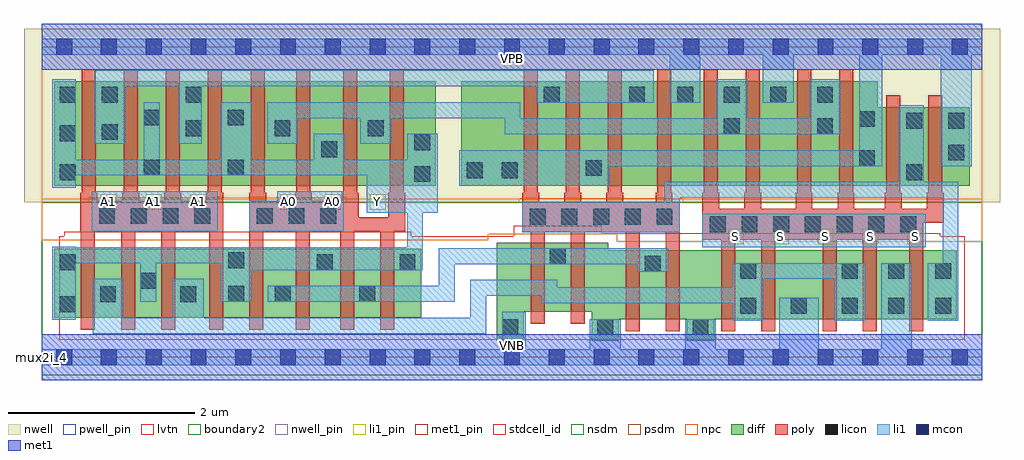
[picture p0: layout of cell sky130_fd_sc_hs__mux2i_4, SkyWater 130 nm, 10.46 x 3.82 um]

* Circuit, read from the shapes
.subckt sky130_fd_sc_hs__mux2i_4 A0 A1 S VGND VNB VPB VPWR Y
XM1 n1 A1 Y VNB sky130_fd_pr__nfet_01v8_lvt w=0.74 l=0.15 m=4
XM2 n2 A0 Y VNB sky130_fd_pr__nfet_01v8_lvt w=0.74 l=0.15 m=4
XM3 n2 n3 VGND VNB sky130_fd_pr__nfet_01v8_lvt w=0.74 l=0.15 m=4
XM4 n1 S VGND VNB sky130_fd_pr__nfet_01v8_lvt w=0.74 l=0.15 m=4
XM5 n3 S VGND VNB sky130_fd_pr__nfet_01v8_lvt w=0.74 l=0.15
XM6 n4 A1 Y VPB sky130_fd_pr__pfet_01v8 w=1.12 l=0.15 m=4
XM7 n5 A0 Y VPB sky130_fd_pr__pfet_01v8 w=1.12 l=0.15 m=4
XM8 n4 n3 VPWR VPB sky130_fd_pr__pfet_01v8 w=1.12 l=0.15 m=4
XM9 n5 S VPWR VPB sky130_fd_pr__pfet_01v8 w=1.12 l=0.15 m=4
XM10 n3 S VPWR VPB sky130_fd_pr__pfet_01v8 w=0.84 l=0.15 m=2
.ends

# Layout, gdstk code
import gdstk
lib = gdstk.Library(unit=1e-6, precision=1e-09)
def R(c, l, rs):  # rectangles x0, y0, x1, y1
    for r in rs: c.add(gdstk.rectangle(r[:2], r[2:], *l))
def A(c, l, x, y, w, h, nx, ny, dx, dy):  # array of equal rectangles
    R(c, l, [(x+i*dx, y+j*dy, x+i*dx+w, y+j*dy+h) for i in range(nx) for j in range(ny)])
def P(c, l, *ps):  # polygons
    for p in ps: c.add(gdstk.Polygon(p, *l))
nwell_pin = (64, 16)
nwell = (64, 20)
diff = (65, 20)
poly = (66, 20)
licon = (66, 44)
li1_pin = (67, 16)
li1 = (67, 20)
mcon = (67, 44)
met1_pin = (68, 16)
met1 = (68, 20)
stdcell_id = (81, 4)
nsdm = (93, 44)
psdm = (94, 20)
npc = (95, 20)
pwell_pin = (122, 16)
lvtn = (125, 44)
boundary2 = (236, 0)

sky130_fd_sc_hs__mux2i_4 = lib.new_cell('sky130_fd_sc_hs__mux2i_4')
R(sky130_fd_sc_hs__mux2i_4, nwell_pin, [(0,3.085,10.08,3.33)])
R(sky130_fd_sc_hs__mux2i_4, nwell, [(-0.19,1.66,10.27,3.52)])
R(sky130_fd_sc_hs__mux2i_4, diff, [(0.135,0.425,4.065,1.165), (0.135,1.84,4.225,2.96)])
P(sky130_fd_sc_hs__mux2i_4, diff, [(9.805,1.15),(6.07,1.15),(6.07,1.23),(4.875,1.23),(4.875,0.18),(5.165,0.18),(5.165,0.49),(5.895,0.49),(5.895,0.18),(6.185,0.18),(6.185,0.41),(6.915,0.41),(6.915,0.18),(7.205,0.18),(7.205,0.41),(9.805,0.41)],
  [(9.945,2.68),(8.96,2.68),(8.96,2.96),(4.495,2.96),(4.495,1.84),(9.945,1.84)])
P(sky130_fd_sc_hs__mux2i_4, poly, [(1.945,1.765),(1.93,1.765),(1.93,3.09),(1.78,3.09),(1.78,1.765),(1.765,1.765),(1.765,1.68),(1.495,1.68),(1.495,1.765),(1.48,1.765),(1.48,3.09),(1.33,3.09),(1.33,1.765),(1.315,1.765),(1.315,1.68),(1.045,1.68),(1.045,1.765),(1.03,1.765),(1.03,3.09),(0.88,3.09),(0.88,1.765),(0.865,1.765),(0.865,1.68),(0.595,1.68),(0.595,1.765),(0.58,1.765),(0.58,3.09),(0.43,3.09),(0.43,1.765),(0.415,1.765),(0.415,1.35),(0.42,1.35),(0.42,0.295),(0.57,0.295),(0.57,1.35),(0.85,1.35),(0.85,0.295),(1,0.295),(1,1.35),(1.28,1.35),(1.28,0.295),(1.43,0.295),(1.43,1.35),(1.795,1.35),(1.795,0.295),(1.945,0.295)],
  [(3.895,1.765),(3.88,1.765),(3.88,3.09),(3.73,3.09),(3.73,1.765),(3.715,1.765),(3.715,1.5),(3.395,1.5),(3.395,1.765),(3.38,1.765),(3.38,3.09),(3.23,3.09),(3.23,1.765),(3.215,1.765),(3.215,1.68),(2.895,1.68),(2.895,1.765),(2.88,1.765),(2.88,3.09),(2.73,3.09),(2.73,1.765),(2.715,1.765),(2.715,1.68),(2.405,1.68),(2.405,1.765),(2.39,1.765),(2.39,3.09),(2.24,3.09),(2.24,1.765),(2.225,1.765),(2.225,0.295),(2.375,0.295),(2.375,1.35),(2.725,1.35),(2.725,0.295),(2.875,0.295),(2.875,1.35),(3.2,1.35),(3.2,0.295),(3.35,0.295),(3.35,1.35),(3.63,1.35),(3.63,0.295),(3.78,0.295),(3.78,1.35),(3.895,1.35)],
  [(6.84,1.67),(6.76,1.67),(6.76,1.765),(6.745,1.765),(6.745,3.09),(6.595,3.09),(6.595,1.765),(6.58,1.765),(6.58,1.67),(6.23,1.67),(6.23,1.765),(6.215,1.765),(6.215,3.09),(6.065,3.09),(6.065,1.765),(6.05,1.765),(6.05,1.67),(5.78,1.67),(5.78,1.765),(5.765,1.765),(5.765,3.09),(5.615,3.09),(5.615,1.765),(5.6,1.765),(5.6,1.67),(5.33,1.67),(5.33,1.765),(5.315,1.765),(5.315,3.09),(5.165,3.09),(5.165,1.765),(5.15,1.765),(5.15,1.34),(5.24,1.34),(5.24,0.36),(5.39,0.36),(5.39,1.34),(5.67,1.34),(5.67,0.36),(5.82,0.36),(5.82,1.34),(6.26,1.34),(6.26,0.28),(6.41,0.28),(6.41,1.34),(6.69,1.34),(6.69,0.28),(6.84,0.28)],
  [(9.665,1.765),(9.65,1.765),(9.65,2.81),(9.5,2.81),(9.5,1.765),(9.485,1.765),(9.485,1.59),(9.215,1.59),(9.215,1.765),(9.2,1.765),(9.2,2.81),(9.05,2.81),(9.05,1.765),(9.035,1.765),(9.035,1.59),(8.71,1.59),(8.71,1.765),(8.695,1.765),(8.695,3.09),(8.545,3.09),(8.545,1.765),(8.53,1.765),(8.53,1.59),(8.26,1.59),(8.26,1.765),(8.245,1.765),(8.245,3.09),(8.095,3.09),(8.095,1.765),(8.08,1.765),(8.08,1.59),(7.71,1.59),(7.71,1.765),(7.695,1.765),(7.695,3.09),(7.545,3.09),(7.545,1.765),(7.53,1.765),(7.53,1.59),(7.26,1.59),(7.26,1.765),(7.245,1.765),(7.245,3.09),(7.095,3.09),(7.095,1.765),(7.08,1.765),(7.08,1.26),(7.28,1.26),(7.28,0.28),(7.43,0.28),(7.43,1.26),(7.71,1.26),(7.71,0.28),(7.86,0.28),(7.86,1.26),(8.37,1.26),(8.37,0.28),(8.52,0.28),(8.52,1.26),(8.8,1.26),(8.8,0.28),(8.95,0.28),(8.95,1.26),(9.3,1.26),(9.3,0.28),(9.45,0.28),(9.45,1.44),(9.665,1.44)])
A(sky130_fd_sc_hs__mux2i_4, licon, 4.935, 0.24, 0.17, 0.17, 3, 1, 1.02, 0)
A(sky130_fd_sc_hs__mux2i_4, licon, 7.485, 0.47, 0.17, 0.17, 3, 1, 0.545, 0)
A(sky130_fd_sc_hs__mux2i_4, licon, 8.575, 0.84, 0.17, 0.17, 3, 1, 0.5, 0)
A(sky130_fd_sc_hs__mux2i_4, licon, 7.16, 1.34, 0.17, 0.17, 7, 1, 0.34, 0)
A(sky130_fd_sc_hs__mux2i_4, licon, 5.23, 1.42, 0.17, 0.17, 5, 1, 0.34, 0)
A(sky130_fd_sc_hs__mux2i_4, licon, 0.615, 1.43, 0.17, 0.17, 4, 1, 0.34, 0)
A(sky130_fd_sc_hs__mux2i_4, licon, 2.305, 1.43, 0.17, 0.17, 3, 1, 0.34, 0)
A(sky130_fd_sc_hs__mux2i_4, licon, 0.195, 1.9, 0.17, 0.17, 1, 3, 0, 0.415)
A(sky130_fd_sc_hs__mux2i_4, licon, 6.81, 2.73, 0.17, 0.17, 4, 1, 0.5, 0)
R(sky130_fd_sc_hs__mux2i_4, licon, [(9.075,0.47,9.245,0.64), (9.575,0.47,9.745,0.64), (0.195,0.485,0.365,0.655), (0.625,0.59,0.795,0.76), (1.485,0.59,1.655,0.76), (2,0.595,2.17,0.765), (2.5,0.595,2.67,0.765), (3.405,0.595,3.575,0.765), (1.055,0.735,1.225,0.905), (7.485,0.84,7.655,1.01), (6.465,0.92,6.635,1.09), (0.195,0.935,0.365,1.105), (2.95,0.935,3.12,1.105), (3.835,0.935,4.005,1.105), (2,0.955,2.17,1.125), (5.445,1,5.615,1.17), (3.995,1.88,4.165,2.05), (9.265,1.9,9.435,2.07), (4.555,1.92,4.725,2.09), (4.93,1.92,5.1,2.09), (5.83,1.945,6,2.115), (1.095,1.95,1.265,2.12), (1.995,1.95,2.165,2.12), (8.76,2.05,8.93,2.22), (9.715,2.11,9.885,2.28), (2.995,2.145,3.165,2.315), (3.995,2.22,4.165,2.39), (0.645,2.33,0.815,2.5), (1.545,2.37,1.715,2.54), (2.495,2.37,2.665,2.54), (3.495,2.37,3.665,2.54), (7.31,2.39,7.48,2.56), (8.31,2.39,8.48,2.56), (9.265,2.45,9.435,2.62), (9.715,2.45,9.885,2.62), (8.76,2.47,8.93,2.64), (1.095,2.485,1.265,2.655), (1.995,2.485,2.165,2.655), (0.645,2.73,0.815,2.9), (1.545,2.73,1.715,2.9), (5.38,2.73,5.55,2.9), (6.295,2.73,6.465,2.9)])
A(sky130_fd_sc_hs__mux2i_4, li1_pin, 7.355, 1.21, 0.17, 0.17, 5, 1, 0.48, 0)
A(sky130_fd_sc_hs__mux2i_4, li1_pin, 0.635, 1.58, 0.17, 0.17, 3, 1, 0.48, 0)
A(sky130_fd_sc_hs__mux2i_4, li1_pin, 2.555, 1.58, 0.17, 0.17, 3, 1, 0.48, 0)
R(sky130_fd_sc_hs__mux2i_4, li1, [(7.08,1.18,9.475,1.54), (0.535,1.35,1.885,1.78)])
P(sky130_fd_sc_hs__mux2i_4, li1, [(0,-0.085),(0,0.085),(4.935,0.085),(4.935,0.49),(5.185,0.49),(5.185,0.085),(5.875,0.085),(5.875,0.41),(6.205,0.41),(6.205,0.085),(6.895,0.085),(6.895,0.41),(7.225,0.41),(7.225,0.085),(7.905,0.085),(7.905,0.64),(8.325,0.64),(8.325,0.085),(8.995,0.085),(8.995,1.01),(9.325,1.01),(9.325,0.085),(10.08,0.085),(10.08,-0.085)],
  [(0,3.245),(0,3.415),(10.08,3.415),(10.08,3.245),(9.965,3.245),(9.965,2.05),(9.635,2.05),(9.635,3.245),(9.01,3.245),(9.01,2.05),(6.08,2.05),(6.08,1.84),(4.475,1.84),(4.475,2.22),(8.76,2.22),(8.76,3.245),(8.06,3.245),(8.06,2.73),(7.73,2.73),(7.73,3.245),(7.06,3.245),(7.06,2.73),(6.73,2.73),(6.73,3.245)],
  [(2.225,1.35),(2.225,1.68),(2.525,1.68),(2.525,1.78),(3.235,1.78),(3.235,1.35)],
  [(3.485,1.55),(3.485,1.95),(0.365,1.95),(0.365,1.82),(0.115,1.82),(0.115,2.98),(0.365,2.98),(0.365,2.12),(1.095,2.12),(1.095,2.735),(1.265,2.735),(1.265,2.12),(1.915,2.12),(1.915,2.735),(2.245,2.735),(2.245,2.12),(2.915,2.12),(2.915,2.395),(3.245,2.395),(3.245,2.12),(3.915,2.12),(3.915,2.395),(4.245,2.395),(4.245,1.55),(4.085,1.55),(4.085,0.935),(2.25,0.935),(2.25,0.595),(1.92,0.595),(1.92,1.01),(1.225,1.01),(1.225,0.595),(1.055,0.595),(1.055,1.01),(0.365,1.01),(0.365,0.405),(0.115,0.405),(0.115,1.185),(0.365,1.185),(0.365,1.18),(3.915,1.18),(3.915,1.55)],
  [(9.825,1.88),(9.825,0.39),(9.495,0.39),(9.495,1.01),(9.655,1.01),(9.655,1.71),(6.84,1.71),(6.84,1.34),(5.15,1.34),(5.15,1.67),(6.67,1.67),(6.67,1.88),(9.185,1.88),(9.185,2.7),(9.455,2.7),(9.455,1.88)],
  [(7.56,2.56),(8.23,2.56),(8.23,2.98),(8.56,2.98),(8.56,2.39),(4.96,2.39),(4.96,2.565),(3.745,2.565),(3.745,2.29),(3.415,2.29),(3.415,2.565),(2.745,2.565),(2.745,2.29),(2.415,2.29),(2.415,2.735),(5.13,2.735),(5.13,2.56),(7.23,2.56),(7.23,2.98),(7.56,2.98)],
  [(4.595,0.83),(5.525,0.83),(5.525,0.75),(7.405,0.75),(7.405,1.01),(8.825,1.01),(8.825,0.39),(8.495,0.39),(8.495,0.84),(7.735,0.84),(7.735,0.39),(7.405,0.39),(7.405,0.58),(5.355,0.58),(5.355,0.66),(4.765,0.66),(4.765,0.255),(0.545,0.255),(0.545,0.84),(0.875,0.84),(0.875,0.425),(1.405,0.425),(1.405,0.84),(1.735,0.84),(1.735,0.425),(4.595,0.425)],
  [(4.255,1.17),(6.715,1.17),(6.715,0.92),(6.385,0.92),(6.385,1),(4.425,1),(4.425,0.595),(2.42,0.595),(2.42,0.765),(4.255,0.765)],
  [(5.3,2.73),(5.3,2.905),(1.715,2.905),(1.715,2.29),(1.465,2.29),(1.465,2.905),(0.895,2.905),(0.895,2.29),(0.565,2.29),(0.565,3.075),(6.56,3.075),(6.56,2.73)])
A(sky130_fd_sc_hs__mux2i_4, mcon, 0.155, -0.085, 0.17, 0.17, 21, 2, 0.48, 3.33)
R(sky130_fd_sc_hs__mux2i_4, met1_pin, [(0,0,10.08,0.245), (0,3.085,10.08,3.33)])
R(sky130_fd_sc_hs__mux2i_4, met1, [(0,-0.245,10.08,0.245), (0,3.085,10.08,3.575)])
R(sky130_fd_sc_hs__mux2i_4, stdcell_id, [(0,0,10.08,3.33)])
R(sky130_fd_sc_hs__mux2i_4, nsdm, [(0,-0.19,10.08,1.66)])
P(sky130_fd_sc_hs__mux2i_4, psdm, [(10.08,3.52),(0,3.52),(0,1.66),(0.505,1.66),(0.505,1.71),(3.265,1.71),(3.265,1.66),(5.12,1.66),(5.12,1.7),(6.87,1.7),(6.87,1.66),(10.08,1.66)])
P(sky130_fd_sc_hs__mux2i_4, npc, [(10.08,1.7),(0,1.7),(0,1.255),(4.785,1.255),(4.785,1.32),(6.16,1.32),(6.16,1.24),(10.08,1.24)])
R(sky130_fd_sc_hs__mux2i_4, pwell_pin, [(0,0,10.08,0.245)])
P(sky130_fd_sc_hs__mux2i_4, lvtn, [(9.89,1.3),(9.63,1.3),(9.63,1.33),(6,1.33),(6,1.41),(5.06,1.41),(5.06,1.3),(3.96,1.3),(3.96,1.345),(0.24,1.345),(0.24,1.3),(0.19,1.3),(0.19,0.19),(9.89,0.19)])
R(sky130_fd_sc_hs__mux2i_4, boundary2, [(0,0,10.08,3.33)])
sky130_fd_sc_hs__mux2i_4.add(gdstk.Label('mux2i_4', (0,0), layer=83, texttype=44))
sky130_fd_sc_hs__mux2i_4.add(gdstk.Label('VNB', (5.04,0.123), layer=64, texttype=59))
sky130_fd_sc_hs__mux2i_4.add(gdstk.Label('VPB', (5.04,3.208), layer=64, texttype=5))
sky130_fd_sc_hs__mux2i_4.add(gdstk.Label('VPWR', (5.04,3.208), layer=68, texttype=5))
sky130_fd_sc_hs__mux2i_4.add(gdstk.Label('VGND', (5.04,0.123), layer=68, texttype=5))
sky130_fd_sc_hs__mux2i_4.add(gdstk.Label('S', (7.44,1.295), layer=67, texttype=5))
sky130_fd_sc_hs__mux2i_4.add(gdstk.Label('S', (7.92,1.295), layer=67, texttype=5))
sky130_fd_sc_hs__mux2i_4.add(gdstk.Label('S', (8.4,1.295), layer=67, texttype=5))
sky130_fd_sc_hs__mux2i_4.add(gdstk.Label('S', (8.88,1.295), layer=67, texttype=5))
sky130_fd_sc_hs__mux2i_4.add(gdstk.Label('S', (9.36,1.295), layer=67, texttype=5))
sky130_fd_sc_hs__mux2i_4.add(gdstk.Label('A0', (2.64,1.665), layer=67, texttype=5))
sky130_fd_sc_hs__mux2i_4.add(gdstk.Label('A0', (3.12,1.665), layer=67, texttype=5))
sky130_fd_sc_hs__mux2i_4.add(gdstk.Label('A1', (0.72,1.665), layer=67, texttype=5))
sky130_fd_sc_hs__mux2i_4.add(gdstk.Label('A1', (1.2,1.665), layer=67, texttype=5))
sky130_fd_sc_hs__mux2i_4.add(gdstk.Label('A1', (1.68,1.665), layer=67, texttype=5))
sky130_fd_sc_hs__mux2i_4.add(gdstk.Label('Y', (3.6,1.665), layer=67, texttype=5))

lib.write_gds('sky130_fd_sc_hs__mux2i_4.gds')
